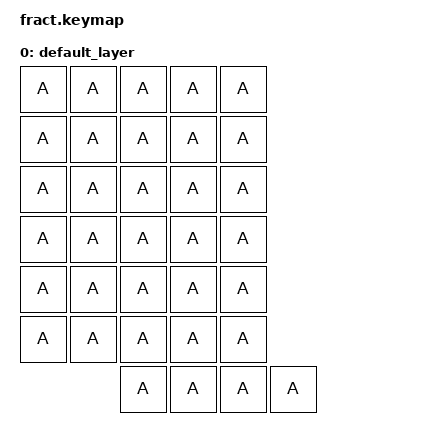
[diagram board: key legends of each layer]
/ {
  keymap {
    compatible = "zmk,keymap";

    default_layer {
      bindings = <
        &kp A &kp A &kp A &kp A &kp A
        &kp A &kp A &kp A &kp A &kp A
        &kp A &kp A &kp A &kp A &kp A
        &kp A &kp A &kp A &kp A &kp A
        &kp A &kp A &kp A &kp A &kp A
        &kp A &kp A &kp A &kp A &kp A
                   &kp A &kp A &kp A &kp A
      >;
    };
  };
};
